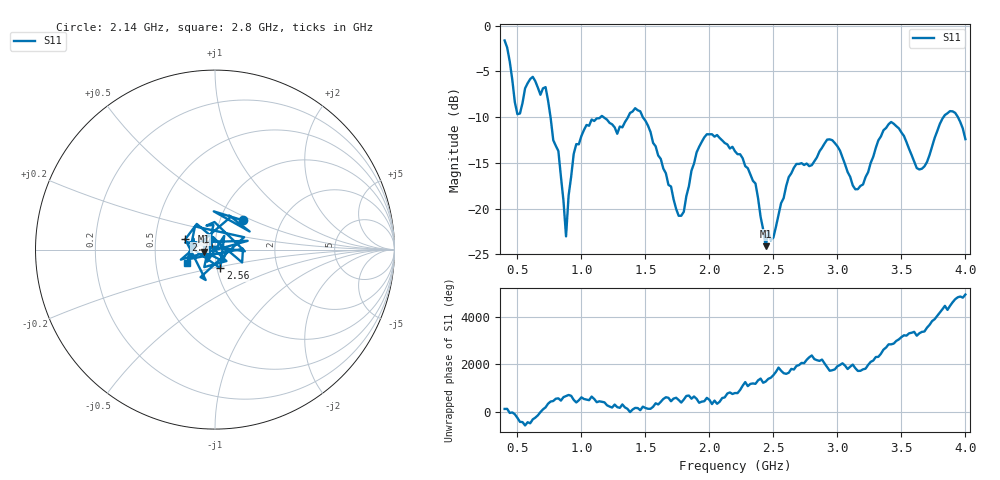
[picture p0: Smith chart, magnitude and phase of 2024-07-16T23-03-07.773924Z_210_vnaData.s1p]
!Created with skrf (http://scikit-rf.org).
# Hz S RI R 50.0
!freq ReS11 ImS11
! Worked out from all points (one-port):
!   181 points, 400 MHz to 4 GHz, reference 50 ohm
!   lowest |S11| = -24.1 dB at 2.44 GHz (marker M1), VSWR 1.13, Z = 44.2 - j0.954 ohm
!   |S11| at or under -10 dB: 758.9 MHz to 1.149 GHz (390 MHz wide, 40.9 % of centre); 1.173 GHz to 1.364 GHz (190.3 MHz wide, 15 % of centre); 1.48 GHz to 3.828 GHz (2.349 GHz wide, 88.5 % of centre) (the widest 3 of 4)
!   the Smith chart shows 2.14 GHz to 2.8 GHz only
!   S11 on the Smith chart (normalised r, x): 2.14 GHz: 1.28, +0.44; 2.56 GHz: 1.04, -0.22; 2.7 GHz: 0.71, +0.08; 2.8 GHz: 0.72, -0.12
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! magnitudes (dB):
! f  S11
! 400 MHz  -1.6
! 500 MHz  -9.7
! 600 MHz  -5.8
! 720 MHz  -6.7
! 860 MHz  -19.2
! 880 MHz  -23.0
! 940 MHz  -14.0
! 1.04 GHz  -10.9
! 1.3 GHz  -11.0
! 1.46 GHz  -9.4
! 1.76 GHz  -20.8
! 1.96 GHz  -12.2
! 2.14 GHz  -13.0
! 2.2 GHz  -13.7
! 2.36 GHz  -17.3
! 2.44 GHz  -24.1
! 2.56 GHz  -19.4
! 2.66 GHz  -15.5
! 2.7 GHz  -15.1
! 2.8 GHz  -15.2
! 2.94 GHz  -12.4
! 3.1 GHz  -16.5
! 3.2 GHz  -17.4
! 3.42 GHz  -10.5
! 3.56 GHz  -13.5
! 3.66 GHz  -15.6
! 3.88 GHz  -9.3
! 4 GHz  -12.4
